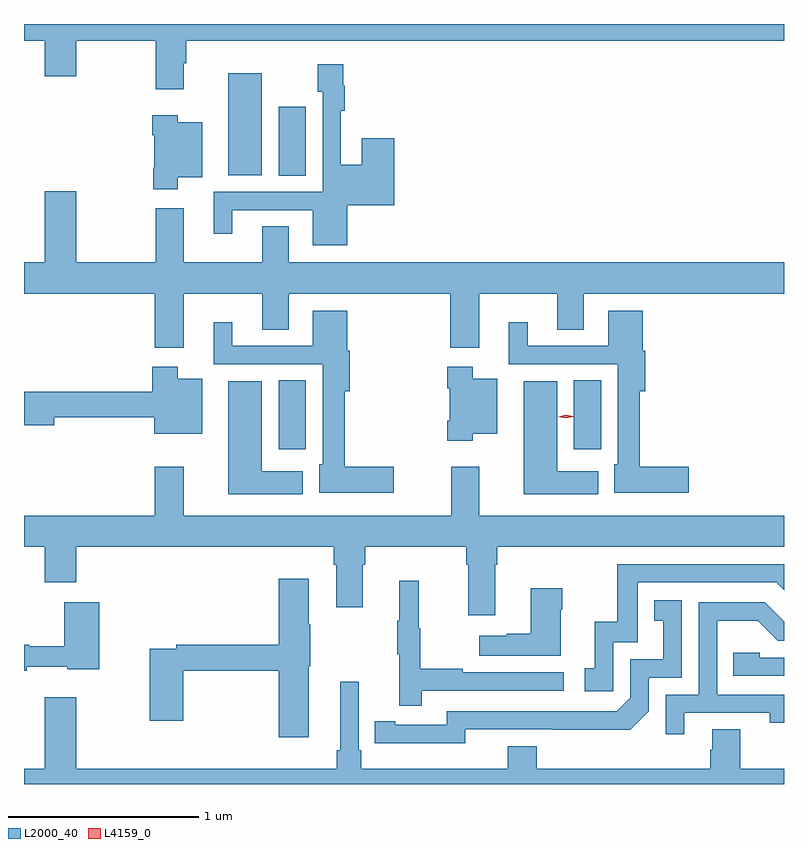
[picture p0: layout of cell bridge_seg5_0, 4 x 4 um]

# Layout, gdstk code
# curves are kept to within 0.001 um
import gdstk
lib = gdstk.Library(unit=1e-6, precision=1e-09)
def R(c, l, rs):  # rectangles x0, y0, x1, y1
    for r in rs: c.add(gdstk.rectangle(r[:2], r[2:], *l))
def P(c, l, *ps):  # polygons
    for p in ps: c.add(gdstk.Polygon(p, *l))
L2000_40 = (2000, 40)
L4159_0 = (4159, 0)

bridge_seg5_0 = lib.new_cell('bridge_seg5_0')
R(bridge_seg5_0, L2000_40, [(621.782,894.57,621.925,894.932), (623.336,894.57,623.479,894.932), (621.782,896.008,621.925,896.371), (621.518,896.012,621.694,896.548)])
P(bridge_seg5_0, L2000_40, [(621.283,896.6),(621.296,896.6),(621.296,896.72),(624.442,896.72),(624.442,896.807),(620.442,896.807),(620.442,896.72),(620.552,896.72),(620.552,896.532),(620.716,896.532),(620.716,896.72),(621.136,896.72),(621.136,896.463),(621.283,896.463)],
  [(622.144,895.853),(622.391,895.853),(622.391,896.206),(622.22,896.206),(622.22,896.065),(622.11,896.065),(622.11,896.351),(622.13,896.351),(622.13,896.483),(622.123,896.483),(622.123,896.596),(621.988,896.596),(621.988,896.451),(622.014,896.451),(622.014,895.923),(621.44,895.923),(621.44,895.704),(621.538,895.704),(621.538,895.827),(621.962,895.827),(621.962,895.643),(622.144,895.643)],
  [(621.25,896),(621.379,896),(621.379,896.29),(621.25,896.29),(621.25,896.326),(621.116,896.326),(621.116,896.222),(621.128,896.222),(621.128,896.05),(621.121,896.05),(621.121,895.938),(621.25,895.938)],
  [(621.283,895.388),(621.695,895.388),(621.695,895.198),(621.835,895.198),(621.835,895.388),(622.685,895.388),(622.685,895.104),(622.837,895.104),(622.837,895.388),(623.249,895.388),(623.249,895.198),(623.389,895.198),(623.389,895.388),(624.442,895.388),(624.442,895.552),(621.835,895.552),(621.835,895.742),(621.695,895.742),(621.695,895.552),(621.283,895.552),(621.283,895.837),(621.136,895.837),(621.136,895.552),(620.716,895.552),(620.716,895.927),(620.552,895.927),(620.552,895.552),(620.442,895.552),(620.442,895.388),(621.131,895.388),(621.131,895.104),(621.283,895.104)],
  [(622.387,894.476),(622.13,894.476),(622.13,894.875),(622.157,894.875),(622.157,895.086),(622.144,895.086),(622.144,895.297),(621.962,895.297),(621.962,895.113),(621.538,895.113),(621.538,895.237),(621.44,895.237),(621.44,895.017),(622.014,895.017),(622.014,894.489),(621.995,894.489),(621.995,894.341),(622.387,894.341)],
  [(623.941,894.476),(623.684,894.476),(623.684,894.875),(623.711,894.875),(623.711,895.086),(623.698,895.086),(623.698,895.297),(623.516,895.297),(623.516,895.113),(623.092,895.113),(623.092,895.237),(622.994,895.237),(622.994,895.017),(623.568,895.017),(623.568,894.489),(623.549,894.489),(623.549,894.341),(623.941,894.341)],
  [(621.379,894.94),(621.25,894.94),(621.25,895.003),(621.116,895.003),(621.116,894.872),(620.442,894.872),(620.442,894.694),(620.602,894.694),(620.602,894.736),(621.128,894.736),(621.128,894.65),(621.379,894.65)],
  [(622.804,894.65),(622.933,894.65),(622.933,894.94),(622.804,894.94),(622.804,895.003),(622.67,895.003),(622.67,894.89),(622.682,894.89),(622.682,894.718),(622.67,894.718),(622.67,894.614),(622.804,894.614)],
  [(623.464,894.454),(623.248,894.454),(623.248,894.928),(623.072,894.928),(623.072,894.332),(623.464,894.332)],
  [(621.91,894.454),(621.694,894.454),(621.694,894.928),(621.518,894.928),(621.518,894.332),(621.91,894.332)],
  [(622.921,893.96),(622.934,893.96),(622.934,894.056),(624.442,894.056),(624.442,894.22),(622.837,894.22),(622.837,894.478),(622.69,894.478),(622.69,894.22),(621.283,894.22),(621.283,894.478),(621.131,894.478),(621.131,894.22),(620.442,894.22),(620.442,894.056),(620.552,894.056),(620.552,893.868),(620.716,893.868),(620.716,894.056),(622.073,894.056),(622.073,893.96),(622.085,893.96),(622.085,893.736),(622.225,893.736),(622.225,893.96),(622.238,893.96),(622.238,894.056),(622.769,894.056),(622.769,893.96),(622.781,893.96),(622.781,893.694),(622.921,893.694)],
  [(623.544,893.553),(623.673,893.553),(623.673,893.868),(624.402,893.868),(624.442,893.828),(624.442,893.964),(623.565,893.964),(623.565,893.662),(623.447,893.662),(623.447,893.415),(623.394,893.415),(623.394,893.295),(623.544,893.295)],
  [(621.94,893.427),(621.948,893.427),(621.948,893.648),(621.94,893.648),(621.94,893.887),(621.782,893.887),(621.782,893.54),(621.244,893.54),(621.244,893.52),(621.103,893.52),(621.103,893.139),(621.281,893.139),(621.281,893.404),(621.782,893.404),(621.782,893.052),(621.94,893.052)],
  [(622.535,893.298),(623.284,893.298),(623.284,893.394),(622.751,893.394),(622.751,893.414),(622.528,893.414),(622.528,893.628),(622.52,893.628),(622.52,893.878),(622.418,893.878),(622.418,893.665),(622.407,893.665),(622.407,893.491),(622.418,893.491),(622.418,893.22),(622.535,893.22)],
  [(623.266,893.723),(623.274,893.723),(623.274,893.836),(623.108,893.836),(623.108,893.597),(622.982,893.597),(622.982,893.587),(622.839,893.587),(622.839,893.483),(623.266,893.483)],
  [(622.764,893.094),(623.632,893.093),(623.73,893.19),(623.73,893.367),(623.904,893.367),(623.904,893.773),(623.758,893.773),(623.758,893.667),(623.807,893.667),(623.807,893.463),(623.634,893.463),(623.634,893.262),(623.562,893.19),(622.668,893.19),(622.668,893.118),(622.396,893.118),(622.396,893.138),(622.288,893.138),(622.288,893.022),(622.764,893.021)],
  [(620.456,893.423),(620.67,893.423),(620.67,893.411),(620.837,893.411),(620.837,893.764),(620.654,893.764),(620.654,893.533),(620.47,893.533),(620.47,893.54),(620.442,893.54),(620.442,893.404),(620.456,893.404)],
  [(623.917,893.181),(624.368,893.181),(624.368,893.13),(624.442,893.13),(624.442,893.277),(624.09,893.277),(624.09,893.666),(624.304,893.666),(624.408,893.562),(624.442,893.562),(624.442,893.661),(624.34,893.763),(623.994,893.763),(623.994,893.277),(623.82,893.277),(623.82,893.07),(623.917,893.07)],
  [(624.442,893.472),(624.315,893.472),(624.315,893.499),(624.175,893.499),(624.175,893.376),(624.442,893.376)],
  [(624.442,892.888),(624.213,892.888),(624.213,893.096),(624.065,893.096),(624.065,892.986),(624.053,892.986),(624.053,892.888),(623.141,892.888),(623.141,893.005),(622.988,893.005),(622.988,892.888),(622.217,892.888),(622.217,892.984),(622.203,892.984),(622.203,893.344),(622.106,893.344),(622.106,892.984),(622.087,892.984),(622.087,892.888),(620.716,892.888),(620.716,893.263),(620.552,893.263),(620.552,892.888),(620.442,892.888),(620.442,892.807),(624.442,892.807)])
P(bridge_seg5_0, L4159_0, [(623.293,894.731),(623.253,894.74),(623.253,894.74),(623.253,894.74),(623.293,894.751),(623.333,894.742),(623.333,894.741),(623.333,894.741)])

lib.write_gds('bridge_seg5_0.gds')
